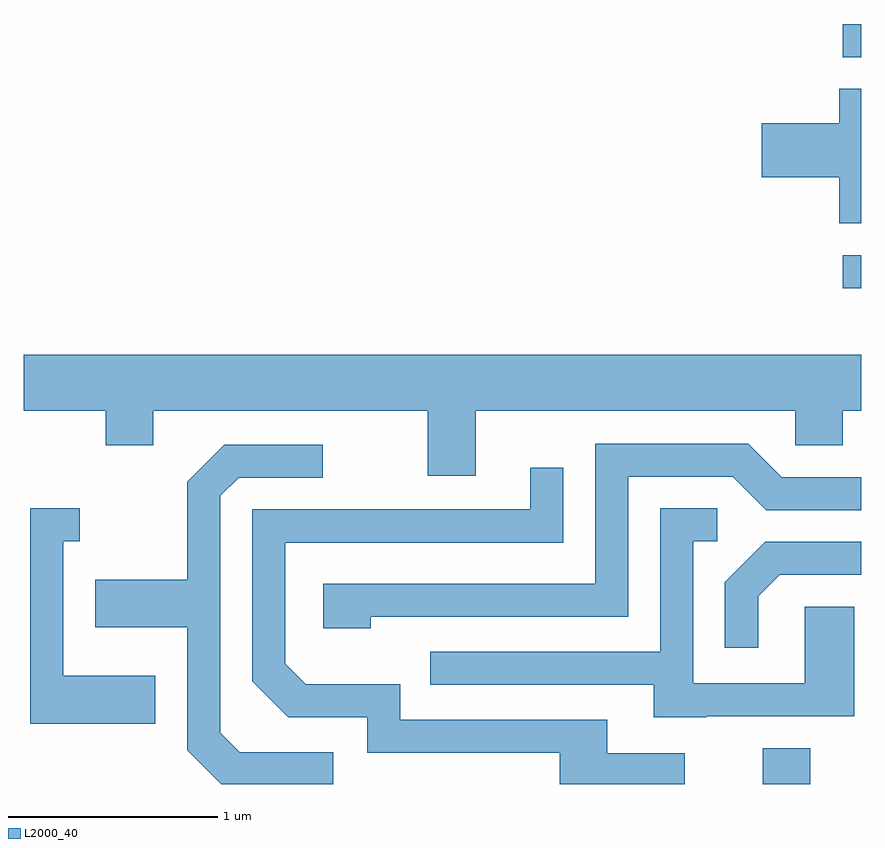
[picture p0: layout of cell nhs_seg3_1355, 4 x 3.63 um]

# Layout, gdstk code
import gdstk
lib = gdstk.Library(unit=1e-6, precision=1e-09)
def R(c, l, rs):  # rectangles x0, y0, x1, y1
    for r in rs: c.add(gdstk.rectangle(r[:2], r[2:], *l))
def P(c, l, *ps):  # polygons
    for p in ps: c.add(gdstk.Polygon(p, *l))
L2000_40 = (2000, 40)

nhs_seg3_1355 = lib.new_cell('nhs_seg3_1355')
R(nhs_seg3_1355, L2000_40, [(227.141,1241.892,227.369,1242.064), (227.523,1244.261,227.611,1244.419), (227.523,1245.366,227.611,1245.524)])
P(nhs_seg3_1355, L2000_40, [(227.611,1245.214),(227.506,1245.214),(227.506,1245.049),(227.136,1245.049),(227.136,1244.791),(227.506,1244.791),(227.506,1244.571),(227.611,1244.571)],
  [(225.769,1243.676),(227.296,1243.676),(227.296,1243.511),(227.524,1243.511),(227.524,1243.676),(227.611,1243.676),(227.611,1243.944),(223.611,1243.944),(223.611,1243.676),(224.001,1243.676),(224.001,1243.511),(224.229,1243.511),(224.229,1243.676),(225.541,1243.676),(225.541,1243.366),(225.769,1243.366)],
  [(225.269,1242.691),(226.499,1242.691),(226.499,1243.361),(226.999,1243.361),(227.159,1243.201),(227.611,1243.201),(227.611,1243.359),(227.232,1243.359),(227.072,1243.519),(226.341,1243.519),(226.341,1242.849),(225.041,1242.849),(225.041,1242.636),(225.269,1242.636)],
  [(225.088,1242.044),(224.642,1242.044),(224.549,1242.137),(224.549,1243.269),(224.637,1243.356),(225.038,1243.356),(225.038,1243.514),(224.569,1243.514),(224.391,1243.337),(224.391,1242.869),(223.951,1242.869),(223.951,1242.641),(224.391,1242.641),(224.391,1242.054),(224.553,1241.892),(225.088,1241.892)],
  [(226.768,1242.039),(226.399,1242.039),(226.399,1242.199),(225.409,1242.199),(225.409,1242.369),(224.957,1242.369),(224.859,1242.467),(224.859,1243.046),(226.189,1243.046),(226.189,1243.403),(226.031,1243.403),(226.031,1243.204),(224.701,1243.204),(224.701,1242.384),(224.874,1242.211),(225.251,1242.211),(225.251,1242.041),(226.171,1242.041),(226.171,1241.892),(226.768,1241.892)],
  [(224.239,1242.409),(223.799,1242.409),(223.799,1243.051),(223.878,1243.051),(223.878,1243.209),(223.641,1243.209),(223.641,1242.181),(224.239,1242.181)],
  [(226.875,1242.216),(227.579,1242.216),(227.579,1242.739),(227.341,1242.739),(227.341,1242.374),(226.809,1242.374),(226.809,1243.051),(226.923,1243.051),(226.923,1243.209),(226.651,1243.209),(226.651,1242.524),(225.553,1242.524),(225.553,1242.366),(226.621,1242.366),(226.621,1242.211),(226.875,1242.211)],
  [(227.119,1242.789),(227.222,1242.891),(227.611,1242.891),(227.611,1243.049),(227.154,1243.049),(226.961,1242.857),(226.961,1242.543),(227.119,1242.543)])

lib.write_gds('nhs_seg3_1355.gds')
